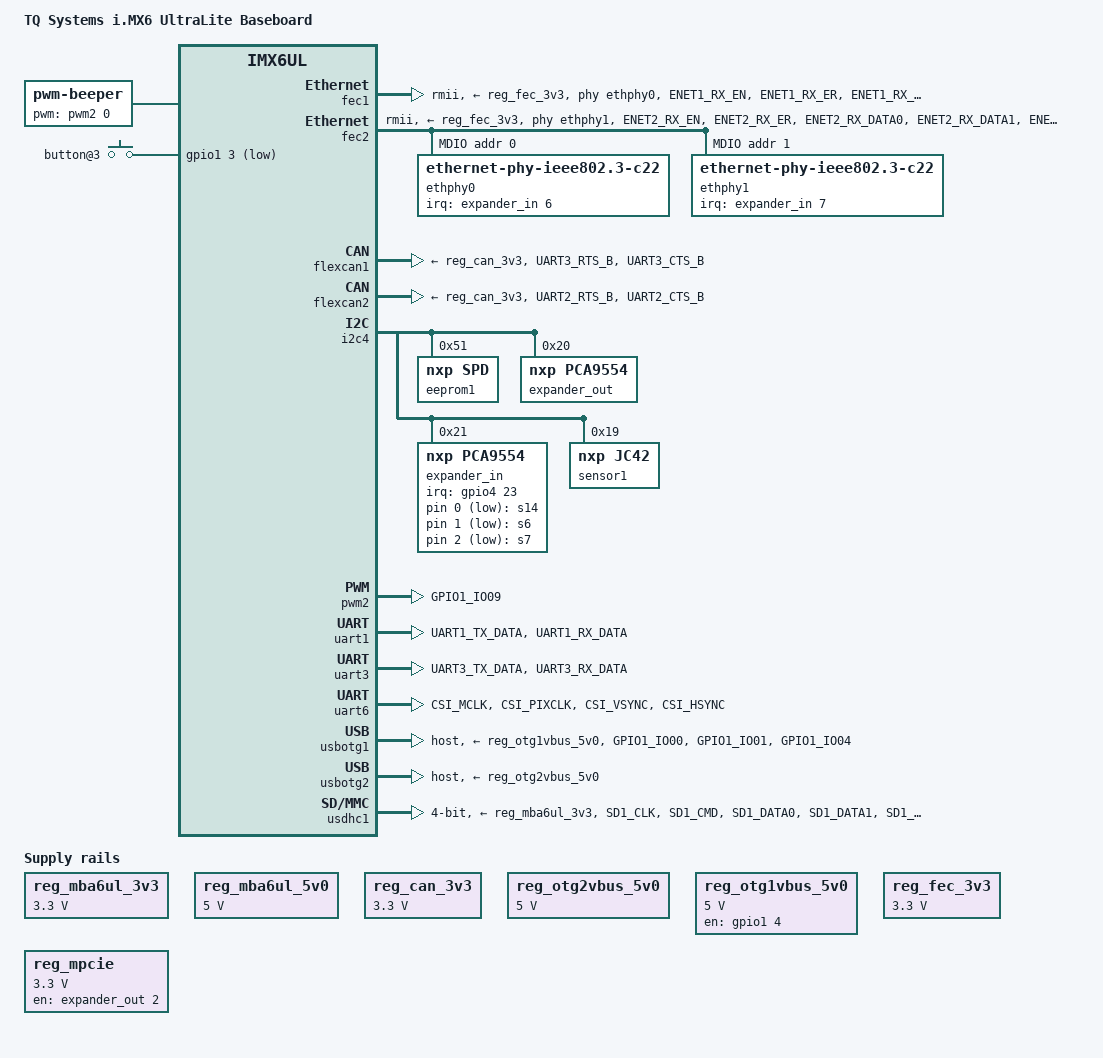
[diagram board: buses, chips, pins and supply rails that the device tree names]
/*
 * Copyright 2016 Marco Felsch, TQ Systems GmbH
 *
 * The code contained herein is licensed under the GNU General Public
 * License. You may obtain a copy of the GNU General Public License
 * Version 2 or later at the following locations:
 *
 * http://www.opensource.org/licenses/gpl-license.html
 * http://www.gnu.org/copyleft/gpl.html
 */

/dts-v1/;

#include <dt-bindings/input/input.h>
#include "imx6ul-tqma6ul.dtsi"

/ {
	model = "TQ Systems i.MX6 UltraLite Baseboard";
	compatible = "tqc,imx6ul-mba6ul", "fsl,imx6ul";

	aliases {
		mmc1 = &usdhc1;
		mmc0 = &usdhc2;
	};

	backlight_lvds: backlight@0 {
		compatible = "pwm-backlight";
		pwms = <&pwm4 0 62500>;
		brightness-levels = <0 96 128 160 192 224 255>;
		default-brightness-level = <5>;
		power-supply = <&reg_mba6ul_3v3>;
		enable-gpios = <&expander_out 4 GPIO_ACTIVE_HIGH>;
		status = "disabled";
	};

	backlight_pd: backlight@1 {
		compatible = "pwm-backlight";
		pwms = <&pwm4 0 5000000>;
		brightness-levels = <255 128 64 32 16 8 4 1 0>;
		default-brightness-level = <5>;
		power-supply = <&reg_mba6ul_3v3>;
		enable-gpios = <&expander_out 4 GPIO_ACTIVE_HIGH>;
		status = "disabled";
	};

	beeper: beeper@0 {
		compatible = "pwm-beeper";
		pwms = <&pwm2 0 5000>; /* 5us period */
	};

	chosen {
		stdout-path = &uart1;
	};

	gpio_buttons: gpio_keys {
		compatible = "gpio-keys";
		#address-cells = <1>;
		#size-cells = <0>;
		pinctrl-names = "default";
		pinctrl-0 = <&pinctrl_gpio>;

		button@0 {
			label = "s14";
			linux,code = <KEY_1>;
			gpios = <&expander_in 0 GPIO_ACTIVE_LOW>;
		};

		button@1 {
			label = "s6";
			linux,code = <KEY_2>;
			gpios = <&expander_in 1 GPIO_ACTIVE_LOW>;
		};

		button@2 {
			label = "s7";
			linux,code = <KEY_3>;
			gpios = <&expander_in 2 GPIO_ACTIVE_LOW>;
		};

		button@3 {
			lable = "POWER";
			gpio-key,wakeup = <1>;
			linux,code = <KEY_POWER>;
			gpios = <&gpio1 3 GPIO_ACTIVE_LOW>;
		};
	};

	regulators {
		compatible = "simple-bus";
		#address-cells = <1>;
		#size-cells = <0>;

		reg_mba6ul_3v3: regulator@0 {
			compatible = "regulator-fixed";
			regulator-name = "supply-mba6ul-3v3";
			reg = <0>;
			regulator-min-microvolt = <3300000>;
			regulator-max-microvolt = <3300000>;
			regulator-always-on;
		};

		reg_mba6ul_5v0: regulator@1 {
			compatible = "regulator-fixed";
			regulator-name = "supply-mba6ul-5v0";
			reg = <1>;
			regulator-min-microvolt = <5000000>;
			regulator-max-microvolt = <5000000>;
			regulator-always-on;
		};

		reg_can_3v3: regulator@2 {
			compatible = "regulator-fixed";
			regulator-name = "can-3v3";
			reg = <2>;
			regulator-min-microvolt = <3300000>;
			regulator-max-microvolt = <3300000>;
			regulator-always-on;
			vin_supply = <&reg_mba6ul_3v3>;
		};

		reg_otg2vbus_5v0: regulator@3 {
			compatible = "regulator-fixed";
			reg = <3>;
			regulator-name = "otg2-vbus-supply-5v0";
			regulator-min-microvolt = <5000000>;
			regulator-max-microvolt = <5000000>;
			vin_supply = <&reg_mba6ul_5v0>;
		};

		reg_otg1vbus_5v0: regulator@4 {
			compatible = "regulator-fixed";
			reg = <4>;
			gpio = <&gpio1 4 GPIO_ACTIVE_HIGH>;
			enable-active-high;
			regulator-name = "otg1-vbus-supply-5v0";
			regulator-min-microvolt = <5000000>;
			regulator-max-microvolt = <5000000>;
			vin_supply = <&reg_mba6ul_5v0>;
		};

		reg_fec_3v3: regulator@5 {
			compatible = "regulator-fixed";
			regulator-name = "fec-3v3";
			reg = <5>;
			regulator-min-microvolt = <3300000>;
			regulator-max-microvolt = <3300000>;
			regulator-always-on;
			vin_supply = <&reg_mba6ul_3v3>;
		};

		reg_lcd_pwr: regulator@6 {
			compatible = "regulator-fixed";
			regulator-name = "lcd-pwr";
			reg = <6>;
			gpio = <&expander_out 1 GPIO_ACTIVE_HIGH>;
			enable-active-high;
			status = "disabled";
		};

		reg_lvds_transmitter: regulator@7 {
			compatible = "regulator-fixed";
			regulator-name = "lvds-power";
			reg = <7>;
			gpio = <&expander_out 3 GPIO_ACTIVE_HIGH>;
			enable-active-high;
			regulator-always-on;
			vin_supply = <&reg_mba6ul_3v3>;
			status = "disabled";
		};

		reg_mpcie: regulator@8 {
			compatible = "regulator-fixed";
			regulator-name = "mpcie-3v3";
			reg = <8>;
			regulator-min-microvolt = <3300000>;
			regulator-max-microvolt = <3300000>;
			gpio = <&expander_out 2 GPIO_ACTIVE_HIGH>;
			enable-active-high;
			regulator-always-on;
			vin_supply = <&reg_mba6ul_3v3>;
		};
	};

	reserved-memory {
		#address-cells = <1>;
		#size-cells = <1>;
		ranges;

		linux,cma {
			compatible = "shared-dma-pool";
			reusable;
			size = <0x6000000>;
			linux,cma-default;
		};
	};
};

&fec1 {
	pinctrl-names = "default";
	pinctrl-0 = <&pinctrl_enet1>;
	phy-mode = "rmii";
	phy-handle = <&ethphy0>;
	phy-supply = <&reg_fec_3v3>;
	/* rst shared with fec2 */
	status = "okay";
};

&fec2 {
	pinctrl-names = "default";
	pinctrl-0 = <&pinctrl_enet2>;
	phy-mode = "rmii";
	phy-handle = <&ethphy1>;
	phy-supply = <&reg_fec_3v3>;
	/* rst shared with fec1 */
	phy-reset-gpios = <&gpio1 2 GPIO_ACTIVE_LOW>;
	phy-reset-duration = <25>;
	phy-reset-delay = <1>;
	status = "okay";

	mdio {
		#address-cells = <1>;
		#size-cells = <0>;

		ethphy0: ethernet-phy@0 {
			compatible = "ethernet-phy-ieee802.3-c22";
			max-speed = <100>;
			interrupt-parent = <&expander_in>;
			interrupts = <6 IRQ_TYPE_EDGE_FALLING>;
			reg = <0>;
		};

		ethphy1: ethernet-phy@1 {
			compatible = "ethernet-phy-ieee802.3-c22";
			max-speed = <100>;
			interrupt-parent = <&expander_in>;
			interrupts = <7 IRQ_TYPE_EDGE_FALLING>;
			reg = <1>;
		};
	};
};

&flexcan1 {
	pinctrl-names = "default";
	pinctrl-0 = <&pinctrl_flexcan1>;
	xceiver-supply = <&reg_can_3v3>;
	status = "okay";
};

&flexcan2 {
	pinctrl-names = "default";
	pinctrl-0 = <&pinctrl_flexcan2>;
	xceiver-supply = <&reg_can_3v3>;
	status = "okay";
};

&i2c4 {
	analog_touch: stmpe811@41 {
		compatible = "st,stmpe811";
		reg = <0x41>;
		interrupts = <21 IRQ_TYPE_EDGE_FALLING>;
		interrupt-parent = <&gpio4>;
		interrupt-controller;
		status = "disabled";

		stmpe_touchscreen {
			compatible = "st,stmpe-ts";
			st,adc-freq = <1>;      /* 3.25 MHz ADC clock speed */
			st,ave-ctrl = <3>;      /* 8 sample average control */
			st,fraction-z = <7>;    /* 7 length fractional part in z */
			/*
			 * 50 mA typical 80 mA max touchscreen drivers
			 * current limit value
			 */
			st,i-drive = <1>;
			st,mod-12b = <1>;       /* 12-bit ADC */
			st,ref-sel = <0>;       /* internal ADC reference */
			st,sample-time = <4>;   /* ADC converstion time: 80 clocks */
			st,settling = <3>;      /* 1 ms panel driver settling time */
			st,touch-det-delay = <5>; /* 5 ms touch detect interrupt delay */
		};
	};

	/* NXP SE97BTP with temperature sensor + eeprom */
	eeprom1: se97@51 {
		compatible = "nxp,spd";
		reg = <0x51>;
		pagesize = <16>;
		status = "okay";
	};

	/* Output-Portexpander */
	expander_out: pca9554@20 {
		compatible = "nxp,pca9554";
		reg = <0x20>;
		/* Interrupt not connected (R410) */
		/* interrupt-parent = <&gpio4>; */
		/* interrupts = <24 IRQ_TYPE_EDGE_FALLING>; */
		/* interrupt-controller; */
		/* interrupt-cells = <2>; */
		gpio-controller;
		#gpio-cells = <2>;
		status = "okay";
	};

	/* Input-Portexpander */
	expander_in: pca9554@21 {
		compatible = "nxp,pca9554";
		reg = <0x21>;
		interrupt-parent = <&gpio4>;
		interrupts = <23 IRQ_TYPE_EDGE_FALLING>;
		interrupt-controller;
		#interrupt-cells = <2>;
		gpio-controller;
		#gpio-cells = <2>;
		status = "okay";
	};

	polytouch: edt-ft5x04@38 {
		compatible = "edt,edt-ft5406", "edt,edt-ft5x06";
		reg = <0x38>;
		interrupt-parent = <&expander_in>;
		interrupts = <3 IRQ_TYPE_EDGE_FALLING>;
		wake-gpios = <&expander_out 1 GPIO_ACTIVE_HIGH>;
		/* reset-gpios is controlled by stk reset */
		gain = <20>;
		status = "disabled";
	};

	/* NXP SE97BTP with temperature sensor + eeprom */
	sensor1: se97@19 {
		compatible = "nxp,jc42";
		reg = <0x19>;
		status = "okay";
	};
};

&iomuxc {
	imx6ul-mba6ul {
		pinctrl_enet1: enet1grp {
			fsl,pins = <
				MX6UL_PAD_ENET1_RX_EN__ENET1_RX_EN	0x1b0b0
				MX6UL_PAD_ENET1_RX_ER__ENET1_RX_ER	0x1b0b0
				MX6UL_PAD_ENET1_RX_DATA0__ENET1_RDATA00	0x1b0b0
				MX6UL_PAD_ENET1_RX_DATA1__ENET1_RDATA01	0x1b0b0
				MX6UL_PAD_ENET1_TX_DATA0__ENET1_TDATA00	0x1b0b0
				MX6UL_PAD_ENET1_TX_DATA1__ENET1_TDATA01	0x1b0b0
				MX6UL_PAD_ENET1_TX_EN__ENET1_TX_EN	0x1b0b0
				MX6UL_PAD_ENET1_TX_CLK__ENET1_REF_CLK1	0x4001b0a8
				/* rst shared with phy2 */
			>;
		};

		pinctrl_enet2: enet2grp {
			fsl,pins = <
				MX6UL_PAD_ENET2_RX_EN__ENET2_RX_EN	0x1b0b0
				MX6UL_PAD_ENET2_RX_ER__ENET2_RX_ER	0x1b0b0
				MX6UL_PAD_ENET2_RX_DATA0__ENET2_RDATA00	0x1b0b0
				MX6UL_PAD_ENET2_RX_DATA1__ENET2_RDATA01	0x1b0b0
				MX6UL_PAD_ENET2_TX_DATA0__ENET2_TDATA00	0x1b0a0
				MX6UL_PAD_ENET2_TX_DATA1__ENET2_TDATA01	0x1b0a0
				MX6UL_PAD_ENET2_TX_EN__ENET2_TX_EN	0x1b0b0
				MX6UL_PAD_ENET2_TX_CLK__ENET2_REF_CLK2	0x4001b0a8
				/* mdio */
				MX6UL_PAD_GPIO1_IO07__ENET2_MDC		0x1b0b0
				MX6UL_PAD_GPIO1_IO06__ENET2_MDIO	0x1b0b0
				/* rst shared with phy1 */
				MX6UL_PAD_GPIO1_IO02__GPIO1_IO02	0x0001b099
			>;
		};

		pinctrl_flexcan1: flexcan1grp {
			fsl,pins = <
				MX6UL_PAD_UART3_RTS_B__FLEXCAN1_RX	0x1b020
				MX6UL_PAD_UART3_CTS_B__FLEXCAN1_TX	0x1b020
			>;
		};

		pinctrl_flexcan2: flexcan2grp {
			fsl,pins = <
				MX6UL_PAD_UART2_RTS_B__FLEXCAN2_RX	0x1b020
				MX6UL_PAD_UART2_CTS_B__FLEXCAN2_TX	0x1b020
			>;
		};

		pinctrl_gpio: gpiogrp {
			fsl,pins = <
				MX6UL_PAD_GPIO1_IO03__GPIO1_IO03	0x100b0
			>;
		};

		pinctrl_lcdif: lcdifgrp {
			fsl,pins = <
				MX6UL_PAD_LCD_DATA00__LCDIF_DATA00	0x79
				MX6UL_PAD_LCD_DATA01__LCDIF_DATA01	0x79
				MX6UL_PAD_LCD_DATA02__LCDIF_DATA02	0x79
				MX6UL_PAD_LCD_DATA03__LCDIF_DATA03	0x79
				MX6UL_PAD_LCD_DATA04__LCDIF_DATA04	0x79
				MX6UL_PAD_LCD_DATA05__LCDIF_DATA05	0x79
				MX6UL_PAD_LCD_DATA06__LCDIF_DATA06	0x79
				MX6UL_PAD_LCD_DATA07__LCDIF_DATA07	0x79
				MX6UL_PAD_LCD_DATA08__LCDIF_DATA08	0x79
				MX6UL_PAD_LCD_DATA09__LCDIF_DATA09	0x79
				MX6UL_PAD_LCD_DATA10__LCDIF_DATA10	0x79
				MX6UL_PAD_LCD_DATA11__LCDIF_DATA11	0x79
				MX6UL_PAD_LCD_DATA12__LCDIF_DATA12	0x79
				MX6UL_PAD_LCD_DATA13__LCDIF_DATA13	0x79
				MX6UL_PAD_LCD_DATA14__LCDIF_DATA14	0x79
				MX6UL_PAD_LCD_DATA15__LCDIF_DATA15	0x79
				MX6UL_PAD_LCD_DATA16__LCDIF_DATA16	0x79
				MX6UL_PAD_LCD_DATA17__LCDIF_DATA17	0x79
				MX6UL_PAD_LCD_DATA18__LCDIF_DATA18	0x79
				MX6UL_PAD_LCD_DATA19__LCDIF_DATA19	0x79
				MX6UL_PAD_LCD_DATA20__LCDIF_DATA20	0x79
				MX6UL_PAD_LCD_DATA21__LCDIF_DATA21	0x79
				MX6UL_PAD_LCD_DATA22__LCDIF_DATA22	0x79
				MX6UL_PAD_LCD_DATA23__LCDIF_DATA23	0x79

				MX6UL_PAD_LCD_CLK__LCDIF_CLK		0x79
				MX6UL_PAD_LCD_ENABLE__LCDIF_ENABLE	0x79
				MX6UL_PAD_LCD_HSYNC__LCDIF_HSYNC	0x79
				MX6UL_PAD_LCD_VSYNC__LCDIF_VSYNC	0x79
				/* lcd reset */
				/* place r2021, resolder r2022 and comment out */
				/* MX6UL_PAD_LCD_RESET__GPIO3_IO04		0x79 */
			>;
		};

		pinctrl_pwm2: pwm2grp {
			fsl,pins = <
				/* 100 k PD, DSE 120 OHM, SPPEED LO */
				MX6UL_PAD_GPIO1_IO09__PWM2_OUT		0x00003050
			>;
		};

		pinctrl_pwm4: pwm4grp {
			fsl,pins = <
				/* 100 k PD, DSE 120 OHM, SPPEED LO */
				MX6UL_PAD_GPIO1_IO05__PWM4_OUT		0x00003050
			>;
		};

		pinctrl_uart1: uart1grp {
			fsl,pins = <
				MX6UL_PAD_UART1_TX_DATA__UART1_DCE_TX	0x1b0b1
				MX6UL_PAD_UART1_RX_DATA__UART1_DCE_RX	0x1b0b1
			>;
		};

		pinctrl_uart3: uart3grp {
			fsl,pins = <
				MX6UL_PAD_UART3_TX_DATA__UART3_DCE_TX	0x1b0b1
				MX6UL_PAD_UART3_RX_DATA__UART3_DCE_RX	0x1b0b1
			>;
		};

		pinctrl_uart6: uart6grp {
			fsl,pins = <
				MX6UL_PAD_CSI_MCLK__UART6_DCE_TX	0x1b0b1
				MX6UL_PAD_CSI_PIXCLK__UART6_DCE_RX	0x1b0b1
				MX6UL_PAD_CSI_VSYNC__UART6_DCE_RTS	0x1b0b1
				MX6UL_PAD_CSI_HSYNC__UART6_DCE_CTS	0x1b0b1
			>;
		};

		pinctrl_uart6dte: uart6dte {
			fsl,pins = <
				MX6UL_PAD_CSI_PIXCLK__UART6_DTE_TX	0x1b0b1
				MX6UL_PAD_CSI_MCLK__UART6_DTE_RX	0x1b0b1
				MX6UL_PAD_CSI_HSYNC__UART6_DTE_RTS	0x1b0b1
				MX6UL_PAD_CSI_VSYNC__UART6_DTE_CTS	0x1b0b1
			>;
		};

		pinctrl_usb_otg1: usbotg1grp {
			fsl,pins = <
				MX6UL_PAD_GPIO1_IO00__ANATOP_OTG1_ID	0x00017059
				MX6UL_PAD_GPIO1_IO01__USB_OTG1_OC	0x0001b0b0
				/* PWR */
				MX6UL_PAD_GPIO1_IO04__GPIO1_IO04	0x0001b099
			>;
		};

		pinctrl_usdhc1: usdhc1grp {
			fsl,pins = <
				MX6UL_PAD_SD1_CLK__USDHC1_CLK		0x00017069
				MX6UL_PAD_SD1_CMD__USDHC1_CMD		0x00017059
				MX6UL_PAD_SD1_DATA0__USDHC1_DATA0	0x00017059
				MX6UL_PAD_SD1_DATA1__USDHC1_DATA1	0x00017059
				MX6UL_PAD_SD1_DATA2__USDHC1_DATA2	0x00017059
				MX6UL_PAD_SD1_DATA3__USDHC1_DATA3	0x00017059
				/* WP */
				MX6UL_PAD_UART1_CTS_B__GPIO1_IO18	0x0001b099
				/* CD */
				MX6UL_PAD_UART1_RTS_B__GPIO1_IO19	0x0001b099
			>;
		};

		pinctrl_usdhc1_100mhz: usdhc1grp100mhz {
			fsl,pins = <
				MX6UL_PAD_SD1_CLK__USDHC1_CLK		0x00017069
				MX6UL_PAD_SD1_CMD__USDHC1_CMD		0x000170b9
				MX6UL_PAD_SD1_DATA0__USDHC1_DATA0	0x000170b9
				MX6UL_PAD_SD1_DATA1__USDHC1_DATA1	0x000170b9
				MX6UL_PAD_SD1_DATA2__USDHC1_DATA2	0x000170b9
				MX6UL_PAD_SD1_DATA3__USDHC1_DATA3	0x000170b9
				/* WP */
				MX6UL_PAD_UART1_CTS_B__GPIO1_IO18	0x0001b099
				/* CD */
				MX6UL_PAD_UART1_RTS_B__GPIO1_IO19	0x0001b099
			>;
		};

		pinctrl_usdhc1_200mhz: usdhc1grp200mhz {
			fsl,pins = <
				MX6UL_PAD_SD1_CLK__USDHC1_CLK		0x00017069
				MX6UL_PAD_SD1_CMD__USDHC1_CMD		0x000170f9
				MX6UL_PAD_SD1_DATA0__USDHC1_DATA0	0x000170f9
				MX6UL_PAD_SD1_DATA1__USDHC1_DATA1	0x000170f9
				MX6UL_PAD_SD1_DATA2__USDHC1_DATA2	0x000170f9
				MX6UL_PAD_SD1_DATA3__USDHC1_DATA3	0x000170f9
				/* WP */
				MX6UL_PAD_UART1_CTS_B__GPIO1_IO18	0x0001b099
				/* CD */
				MX6UL_PAD_UART1_RTS_B__GPIO1_IO19	0x0001b099
			>;
		};
	};
};

&lcdif {
	pinctrl-names = "default";
	pinctrl-0 = <&pinctrl_lcdif>;
	display = <&display0>;
	lcd-supply = <&reg_lcd_pwr>;
	status = "disabled";

	display0: display@0 {
		bits-per-pixel = <32>; /* 32: RGB888/666 mode */
		bus-width = <24>;

		display-timings {
			native-mode = <&timing0>;
			timing0: chimei-g104-x1 {
				clock-frequency = <65000000>;
				hactive = <1024>;
				vactive = <768>;
				hfront-porch = <75>;
				hback-porch = <10>;
				hsync-len = <255>; /* FIXME: typ < 256!*/
				vback-porch = <100>;
				vfront-porch = <10>;
				vsync-len = <38>;
				de-active = <1>;
				hsync-active = <0>;
				vsync-active = <0>;
			};
		};
	};

	/* ET0700G0DH6 + ETM0700G0DH6 + ETM0700G0BDH6 + S070WV106H-CT44 */
	display1: display@1 {
		bits-per-pixel = <32>; /* 32: RGB888/666 mode */
		bus-width = <24>; /* change it to 18 for new hw rev.  */

		display-timings {
			native-mode = <&timing1>;
			timing1: 800x480p62 {
				clock-frequency = <33260000>;
				hactive = <800>;
				vactive = <480>;
				hback-porch = <216>;
				hfront-porch = <40>;
				vback-porch = <35>;
				vfront-porch = <10>;
				hsync-len = <128>;
				vsync-len = <2>;
				hsync-active = <0>;
				vsync-active = <0>;
				de-active = <1>;
				pixelclk-active = <0>;
			};
		};
	};
};

&pwm2 {
	pinctrl-names = "default";
	pinctrl-0 = <&pinctrl_pwm2>;
	clocks = <&clks IMX6UL_CLK_PWM2>,
		 <&clks IMX6UL_CLK_PWM2>;
	clock-names = "ipg", "per";
	status = "okay";
};

&pwm4 {
	pinctrl-names = "default";
	pinctrl-0 = <&pinctrl_pwm4>;
	clocks = <&clks IMX6UL_CLK_PWM4>,
		 <&clks IMX6UL_CLK_PWM4>;
	clock-names = "ipg", "per";
	status = "disabled";
};

&uart1 {
	pinctrl-names = "default";
	pinctrl-0 = <&pinctrl_uart1>;
	status = "okay";
};

&uart3 {
	pinctrl-names = "default";
	pinctrl-0 = <&pinctrl_uart3>;
	status = "okay";
};

&uart6 {
	pinctrl-names = "default";
	pinctrl-0 = <&pinctrl_uart6>;
	fsl,uart-has-rtscts;
	/* for DTE mode, add below change */
	/* fsl,dte-mode; */
	/* pinctrl-0 = <&pinctrl_uart6dte>; */
	status = "okay";
};

/* otg-port */
&usbotg1 {
	pinctrl-names = "default";
	pinctrl-0 = <&pinctrl_usb_otg1>;
	vbus-supply = <&reg_otg1vbus_5v0>;
	dr_mode = "host";
	status = "okay";
};

/* 7-port usb hub */
/* id, pwr, oc pins not connected */
&usbotg2 {
	disable-over-current;
	vbus-supply = <&reg_otg2vbus_5v0>;
	dr_mode = "host";
	status = "okay";
};

&usdhc1 {
	pinctrl-names = "default", "state_100mhz", "state_200mhz";
	/* pinctrl-names = "default"; */
	pinctrl-0 = <&pinctrl_usdhc1>;
	pinctrl-1 = <&pinctrl_usdhc1_100mhz>;
	pinctrl-2 = <&pinctrl_usdhc1_200mhz>;
	cd-gpios = <&gpio1 19 GPIO_ACTIVE_LOW>;
	wp-gpios = <&gpio1 18 GPIO_ACTIVE_HIGH>;
	bus-width = <4>;
	vmmc-supply = <&reg_mba6ul_3v3>;
	status = "okay";
};
